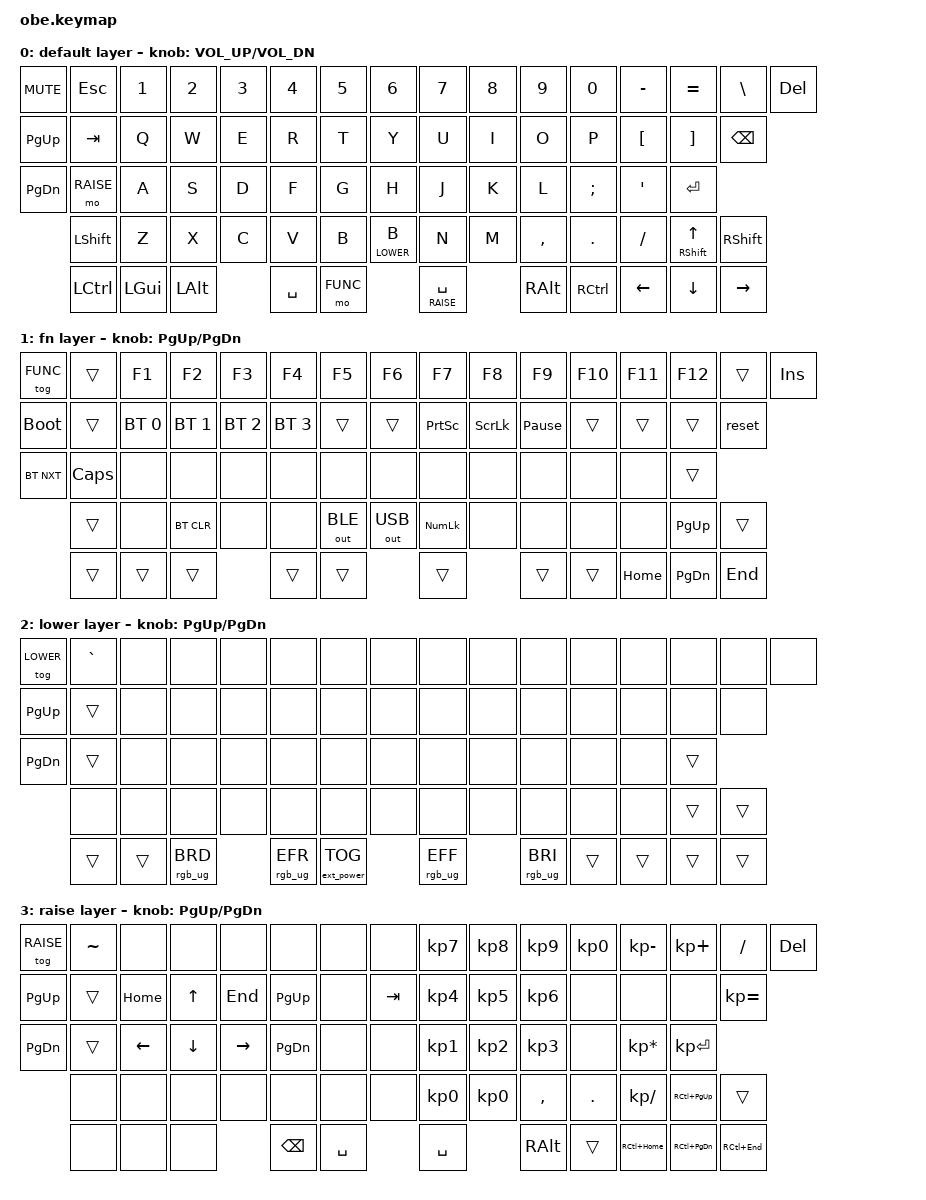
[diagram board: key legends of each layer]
/*
 * Copyright (c) 2022 The ZMK Contributors
 *
 * SPDX-License-Identifier: MIT
 */

#include <behaviors.dtsi>
#include <dt-bindings/zmk/keys.h>
#include <dt-bindings/zmk/bt.h>
#include <dt-bindings/zmk/rgb.h>
#include <dt-bindings/zmk/ext_power.h>
#include <dt-bindings/zmk/outputs.h>
#include <dt-bindings/zmk/modifiers.h>

#define TIMEOUT 300
#define DEFAULT 0
#define FUNC    1
#define LOWER   2
#define RAISE   3

&encoder_1 {
    status = "okay";
};

/ {
    combos {
        compatible = "zmk,combos";
        combo_btclr {
            timeout-ms = <TIMEOUT>;
            key-positions = <1 6>;
            bindings = <&bt BT_CLR>;
        };
        combo_lock {
            timeout-ms = <TIMEOUT>;
            key-positions = <1 7>;
            bindings = <&tog 2>;
        };
        combo_reset {
            timeout-ms = <TIMEOUT>;
            key-positions = <1 3>;
            bindings = <&reset>;
        };
        combo_bootloader {
            timeout-ms = <TIMEOUT>;
            key-positions = <1 15>;
            bindings = <&bootloader>;
        };
        combo_bt_nxt {
            timeout-ms = <TIMEOUT>;
            key-positions = <1 4>;
            bindings = <&bt BT_NXT>;
        };
    };
    
    sensors {
        compatible = "zmk,keymap-sensors";
        sensors = <&encoder_1>;
    };


    keymap0: keymap {
        compatible = "zmk,keymap";

        default_layer {
            label = "default layer";
            bindings = <
                &kp C_MUTE &kp ESC  &kp N1   &kp N2   &kp N3   &kp N4   &kp N5   &kp N6      &kp N7    &kp N8    &kp N9    &kp N0    &kp MINUS &kp EQUAL  &kp BSLH &kp DEL
                &kp PG_UP &kp TAB   &kp Q    &kp W    &kp E    &kp R    &kp T    &kp Y        &kp U    &kp I    &kp O    &kp P    &kp LBKT &kp RBKT &kp BSPC
                &kp PG_DN &mo RAISE &kp A    &kp S    &kp D    &kp F    &kp G    &kp H        &kp J    &kp K    &kp L    &kp SEMI &kp APOS          &kp ENTER
                         &kp LSHFT  &kp Z    &kp X    &kp C    &kp V    &kp B    &lt LOWER B  &kp N    &kp M    &kp COMMA &kp DOT  &kp FSLH &mt RSHFT UP   &kp RSHFT
                         &kp LCTRL  &kp LGUI &kp LALT         &kp SPACE  &mo FUNC        &lt RAISE SPACE           &kp RALT &kp RCTRL   &kp LEFT &kp DOWN &kp RIGHT
            >;
            sensor-bindings = <&inc_dec_kp C_VOL_UP C_VOL_DN>;

        }; 
        
        fn_layer {
            label = "fn layer";
            bindings = <
                &tog FUNC   &trans &kp F1   &kp F2   &kp F3   &kp F4   &kp F5   &kp F6   &kp F7   &kp F8   &kp F9   &kp F10  &kp F11  &kp F12  &trans &kp INS
                &bootloader &trans &bt BT_SEL 0 &bt BT_SEL 1 &bt BT_SEL 2 &bt BT_SEL 3 &trans &trans &kp PSCRN  &kp SLCK &kp PAUSE_BREAK  &trans &trans &trans &reset
                &bt BT_NXT  &kp CAPS &none &none &none &none &none &none &none &none &none &none &none          &trans
                &trans  &none  &bt BT_CLR &none &none &out OUT_BLE &out OUT_USB  &kp KP_NUM &none &none &none &none &kp PG_UP &trans
                        &trans &trans  &trans &trans          &trans          &trans &trans &trans &kp HOME &kp PG_DN &kp END
            >;  
            sensor-bindings = <&inc_dec_kp PG_UP PG_DN>;
                
        };
        
        lower_layer {
            label = "lower layer";
            bindings = <
                &tog LOWER &kp GRAVE &none   &none   &none   &none   &none   &none   &none   &none   &none   &none  &none  &none  &none &none
                &kp PG_UP &trans &none &none &none &none &none &none &none &none &none &none &none &none &none
                &kp PG_DN &trans &none &none &none &none &none &none &none &none &none &none &none          &trans
                         &none &none &none &none &none &none &none &none &none &none &none &none &trans &trans
                        &trans &trans  &rgb_ug RGB_BRD &rgb_ug RGB_EFR  &ext_power EP_TOG       &rgb_ug RGB_EFF &rgb_ug RGB_BRI &trans &trans &trans &trans
            >;  
            sensor-bindings = <&inc_dec_kp PG_UP PG_DN>;
	   };

        raise_layer {
            label = "raise layer";
            bindings = <
                &tog RAISE &kp TILDE &none  &none   &none   &none   &none   &none   &kp KP_N7 &kp KP_N8 &kp KP_N9 &kp KP_N0 &kp KP_MINUS  &kp KP_PLUS  &kp FSLH &kp DEL
                &kp PG_UP &trans &kp HOME &kp UP &kp END &kp PG_UP &none &kp TAB &kp KP_N4 &kp KP_N5 &kp KP_N6 &none &none &none &kp KP_EQUAL
                &kp PG_DN &trans &kp LEFT &kp DOWN &kp RIGHT &kp PG_DN &none &none &kp KP_N1 &kp KP_N2 &kp KP_N3 &none &kp KP_MULTIPLY  &kp KP_ENTER
                         &none &none &none &none &none &none &none &kp KP_N0 &kp KP_N0 &kp COMMA &kp DOT &kp KP_DIVIDE &kp RC(PG_UP) &trans
                         &none &none  &none &kp BSPC          &kp SPACE      &kp SPACE &kp RALT &trans &kp RC(HOME) &kp RC(PG_DN) &kp RC(END)
            >;  
            sensor-bindings = <&inc_dec_kp PG_UP PG_DN>;

        };
    };
};
